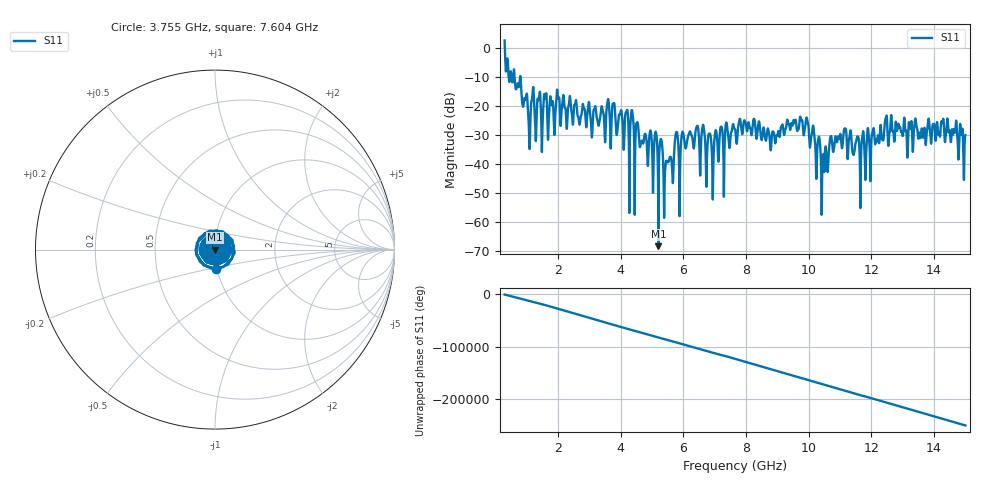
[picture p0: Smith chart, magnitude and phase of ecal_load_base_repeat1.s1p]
# GHZ S RI R 50.0
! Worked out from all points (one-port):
!   12801 points, 300 MHz to 15 GHz, reference 50 ohm
!   lowest |S11| = -68.3 dB at 5.204 GHz (marker M1), VSWR 1.00, Z = 50 + j0.0346 ohm
!   |S11| at or under -10 dB: 425.3 MHz to 479.9 MHz (54.63 MHz wide, 12.1 % of centre); 615.4 MHz to 794.7 MHz (179.4 MHz wide, 25.4 % of centre); 804 MHz to end of sweep (the widest 3 of 4)
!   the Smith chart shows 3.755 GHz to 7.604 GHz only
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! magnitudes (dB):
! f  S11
! 300 MHz  2.4
! 1.092 GHz  -34.1
! 1.197 GHz  -15.3
! 1.311 GHz  -27.6
! 1.392 GHz  -17.9
! 1.514 GHz  -25.3
! 1.59 GHz  -17.6
! 2.138 GHz  -20.0
! 3.975 GHz  -23.1
! 5.204 GHz  -68.3
! 5.296 GHz  -31.6
! 5.435 GHz  -40.3
! 5.812 GHz  -29.9
! 6.435 GHz  -27.1
! 6.939 GHz  -51.2
! 7.204 GHz  -27.2
! 7.65 GHz  -28.1
! 8.81 GHz  -32.9
! 9.488 GHz  -26.7
! 9.941 GHz  -24.2
! 10.45 GHz  -38.7
! 10.71 GHz  -30.5
! 11.32 GHz  -29.2
! 11.64 GHz  -46.9
! 12.45 GHz  -24.6
! 13.16 GHz  -34.8
! 14.26 GHz  -26.0
! 15 GHz  -30.1
